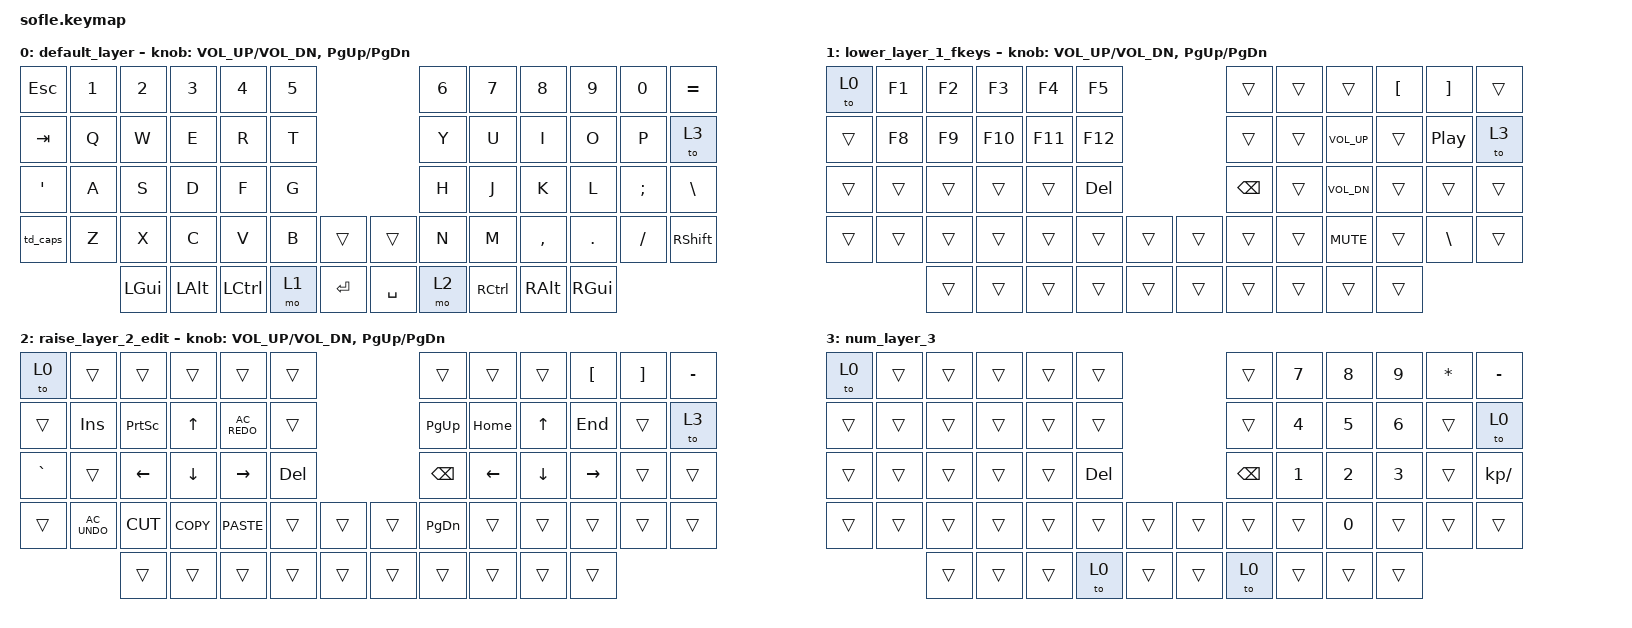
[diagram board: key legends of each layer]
/*
 * Copyright (c) 2020 The ZMK Contributors
 *
 * SPDX-License-Identifier: MIT
 */
// This is QUERTY map

#include <behaviors.dtsi>
#include <dt-bindings/zmk/keys.h>

/ {
    behaviors {
        td_caps: tap_dance_caps {
            compatible = "zmk,behavior-tap-dance";
            #binding-cells = <0>;
            tapping-term-ms = <200>;
            bindings = <&kp LSHFT>, <&caps_word>;
        };

        hb: hold_behavior {
            compatible = "zmk,behavior-hold-tap";
            #binding-cells = <2>;
            flavor = "balanced";
            tapping-term-ms = <120>;
            quick-tap-ms = <2>;
            bindings = <&kp>, <&kp>;
        };
    };

    keymap {
        compatible = "zmk,keymap";

        default_layer {
            // ------------------------------------------------------------------------------------------------------------
            // |  ESC  |  1  |  2  |  3   |  4   |  5   |                   |  6   |  7    |  8    |  9   |   0   |  +=   |
            // |  TAB  |  Q  |  W  |  E   |  R   |  T   |                   |  Y   |  U    |  I    |  O   |   P   | BKSPC |
            // |   '   |  A  |  S  |  D   |  F   |  G   |                   |  H   |  J    |  K    |  L   |   ;   |   \|  |
            // | SHIFT |  Z  |  X  |  C   |  V   |  B   |  MUTE  |  |       |  N   |  M    |  ,    |  .   |   /   | SHIFT |
            //               | GUI | ALT  | CTRL | LOWER|  ENTER |  | SPACE | RAISE| CTRL  | ALT   | GUI  |

            bindings = <
&kp ESC   &kp N1  &kp N2    &kp N3    &kp N4     &kp N5                        &kp N6  &kp N7     &kp N8     &kp N9    &kp N0    &kp EQUAL
&kp TAB   &kp Q   &kp W     &kp E     &kp R      &kp T                         &kp Y   &kp U      &kp I      &kp O     &kp P     &to 3
&kp APOS  &kp A   &kp S     &kp D     &kp F      &kp G                         &kp H   &kp J      &kp K      &kp L     &kp SEMI  &kp BSLH
&td_caps  &kp Z   &kp X     &kp C     &kp V      &kp B   &trans     &trans     &kp N   &kp M      &kp COMMA  &kp DOT   &kp FSLH  &kp RSHFT
                  &kp LGUI  &kp LALT  &kp LCTRL  &mo 1   &kp RET    &kp SPACE  &mo 2   &kp RCTRL  &kp RALT   &kp RGUI
            >;

            sensor-bindings = <&inc_dec_kp C_VOL_UP C_VOL_DN &inc_dec_kp PG_UP PG_DN>;
        };

        lower_layer_1_fkeys {
            // TODO: Some binds are waiting for shifted keycode support.
            // ------------------------------------------------------------------------------------------------------------
            // | RGB_TOG |  F1 |  F2 |  F3  |  F4  |  F5  |                   |  F6  |  F7   |       |  {[  |   ]}  |       |
            // |         |  F8 |  F9 | F10  | F11  | F12  |                   |      |       | VL_UP |      | C_PP  |       |
            // |         |  !  |  @  |  #   |  $   |  %   |                   |  ^   |  &    | VL_DN |  (   |   )   |       |
            // |         |  =  |  -  |  +   |  {   |  }   |        |  |       |  [   |  ]    | MUTE  |  :   |   \   |       |
            //                 |     |      |      |      |        |  |       |      |       |       |      |

            bindings = <
&to 0   &kp F1  &kp F2  &kp F3   &kp F4   &kp F5                     &trans         &trans  &trans        &kp LBKT  &kp RBKT  &trans
&trans  &kp F8  &kp F9  &kp F10  &kp F11  &kp F12                    &trans         &trans  &kp C_VOL_UP  &trans    &kp C_PP  &to 3
&trans  &trans  &trans  &trans   &trans   &kp DEL                    &kp BACKSPACE  &trans  &kp C_VOL_DN  &trans    &trans    &trans
&trans  &trans  &trans  &trans   &trans   &trans   &trans    &trans  &trans         &trans  &kp C_MUTE    &trans    &kp BSLH  &trans
                &trans  &trans   &trans   &trans   &trans    &trans  &trans         &trans  &trans        &trans
            >;

            sensor-bindings = <&inc_dec_kp C_VOL_UP C_VOL_DN &inc_dec_kp PG_UP PG_DN>;
        };

        raise_layer_2_edit {
            // ------------------------------------------------------------------------------------------------------------
            // |BTCLR| BT1  | BT2  |  BT3  |  BT4  |  BT5 |                |      |      |       |  {[  |   ]}  |  -_   |
            // |     | INS  | PSCR | GUI   |       |      |                | PGUP | HOME |   ^   | END  | C_PP  |  DEL  |
            // | `~  | ALT  | CTRL | SHIFT |       |      |                |      |   <- |   v   |  ->  |       |       |
            // |     | UNDO | CUT  | COPY  | PASTE |      |      |  |      | PGDN |      |       |      |       |       |
            //              |      |       |       |      |      |  |      |      |      |       |      |

            bindings = <
&to 0      &trans         &trans     &trans      &trans         &trans                     &trans         &trans    &trans    &kp LBKT   &kp RBKT  &kp MINUS
&trans     &kp INS        &kp PSCRN  &kp UP      &kp C_AC_REDO  &trans                     &kp PG_UP      &kp HOME  &kp UP    &kp END    &trans    &to 3
&kp GRAVE  &trans         &kp LEFT   &kp DOWN    &kp RIGHT      &kp DEL                    &kp BACKSPACE  &kp LEFT  &kp DOWN  &kp RIGHT  &trans    &trans
&trans     &kp C_AC_UNDO  &kp K_CUT  &kp K_COPY  &kp K_PASTE    &trans   &trans    &trans  &kp PG_DN      &trans    &trans    &trans     &trans    &trans
                          &trans     &trans      &trans         &trans   &trans    &trans  &trans         &trans    &trans    &trans
            >;

            sensor-bindings = <&inc_dec_kp C_VOL_UP C_VOL_DN &inc_dec_kp PG_UP PG_DN>;
        };

        num_layer_3 {
            bindings = <
&to 0   &trans  &trans  &trans  &trans  &trans                        &trans         &kp NUMBER_7  &kp NUMBER_8  &kp NUMBER_9  &kp ASTRK  &kp MINUS
&trans  &trans  &trans  &trans  &trans  &trans                        &trans         &kp NUMBER_4  &kp NUMBER_5  &kp NUMBER_6  &trans     &to 0
&trans  &trans  &trans  &trans  &trans  &kp DELETE                    &kp BACKSPACE  &kp NUMBER_1  &kp NUMBER_2  &kp NUMBER_3  &trans     &kp KP_DIVIDE
&trans  &trans  &trans  &trans  &trans  &trans      &trans    &trans  &trans         &trans        &kp NUMBER_0  &trans        &trans     &trans
                &trans  &trans  &trans  &to 0       &trans    &trans  &to 0          &trans        &trans        &trans
            >;
        };
    };
};
